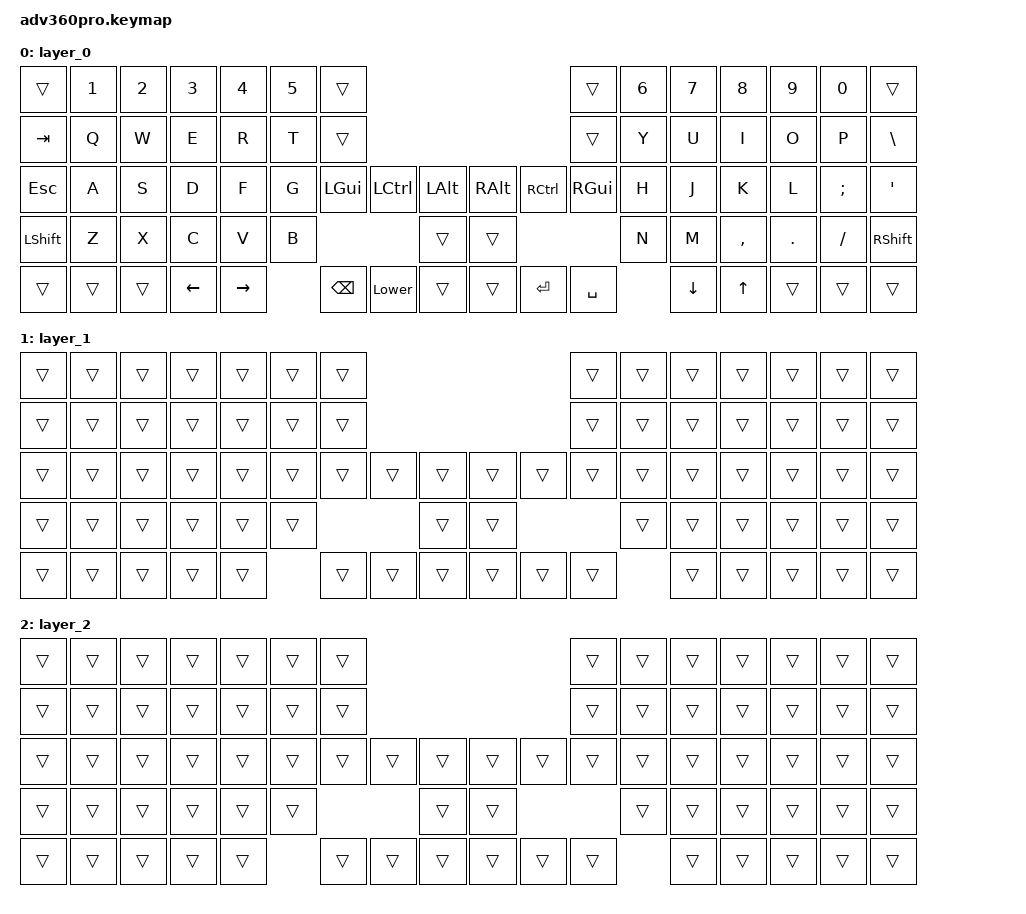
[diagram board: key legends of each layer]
/*
 * Copyright (c) 2020 The ZMK Contributors
 *
 * SPDX-License-Identifier: MIT
 */
/* THIS FILE WAS GENERATED!
 *
 * This file was generated automatically. You may or may not want to
 * edit it directly.
 */

#include <behaviors.dtsi>
#include <dt-bindings/zmk/keys.h>

/ {
    behaviors {
        Lower: Lower {
            compatible = "zmk,behavior-tap-dance";
            label = "LOWER";
            #binding-cells = <0>;
            bindings =
                <&mo 1>,
                <&to 1>;
        };
    };

    keymap {
        compatible = "zmk,keymap";

        layer_0 {
            bindings = <
&trans     &kp N1  &kp N2  &kp N3    &kp N4     &kp N5  &trans                                                           &trans         &kp N6  &kp N7    &kp N8     &kp N9   &kp N0    &trans
&kp TAB    &kp Q   &kp W   &kp E     &kp R      &kp T   &trans                                                           &trans         &kp Y   &kp U     &kp I      &kp O    &kp P     &kp BACKSLASH
&kp ESC    &kp A   &kp S   &kp D     &kp F      &kp G   &kp LEFT_GUI   &kp LCTRL  &kp LEFT_ALT      &kp RALT  &kp RCTRL  &kp RIGHT_GUI  &kp H   &kp J     &kp K      &kp L    &kp SEMI  &kp SINGLE_QUOTE
&kp LSHFT  &kp Z   &kp X   &kp C     &kp V      &kp B                             &trans            &trans                              &kp N   &kp M     &kp COMMA  &kp DOT  &kp FSLH  &kp RSHFT
&trans     &trans  &trans  &kp LEFT  &kp RIGHT          &kp BACKSPACE  &Lower     &trans            &trans    &kp ENTER  &kp SPACE              &kp DOWN  &kp UP     &trans   &trans    &trans
            >;
        };

        layer_1 {
            bindings = <
&trans  &trans  &trans  &trans  &trans  &trans  &trans                                      &trans  &trans  &trans  &trans  &trans  &trans  &trans
&trans  &trans  &trans  &trans  &trans  &trans  &trans                                      &trans  &trans  &trans  &trans  &trans  &trans  &trans
&trans  &trans  &trans  &trans  &trans  &trans  &trans  &trans  &trans      &trans  &trans  &trans  &trans  &trans  &trans  &trans  &trans  &trans
&trans  &trans  &trans  &trans  &trans  &trans                  &trans      &trans                  &trans  &trans  &trans  &trans  &trans  &trans
&trans  &trans  &trans  &trans  &trans          &trans  &trans  &trans      &trans  &trans  &trans          &trans  &trans  &trans  &trans  &trans
            >;
        };

        layer_2 {
            bindings = <
&trans  &trans  &trans  &trans  &trans  &trans  &trans                                      &trans  &trans  &trans  &trans  &trans  &trans  &trans
&trans  &trans  &trans  &trans  &trans  &trans  &trans                                      &trans  &trans  &trans  &trans  &trans  &trans  &trans
&trans  &trans  &trans  &trans  &trans  &trans  &trans  &trans  &trans      &trans  &trans  &trans  &trans  &trans  &trans  &trans  &trans  &trans
&trans  &trans  &trans  &trans  &trans  &trans                  &trans      &trans                  &trans  &trans  &trans  &trans  &trans  &trans
&trans  &trans  &trans  &trans  &trans          &trans  &trans  &trans      &trans  &trans  &trans          &trans  &trans  &trans  &trans  &trans
            >;
        };
    };
};
